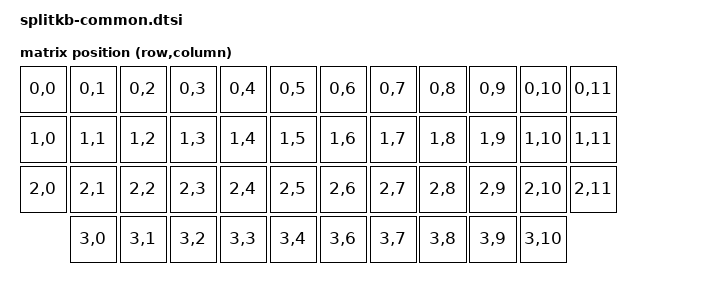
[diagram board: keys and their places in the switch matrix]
/*
 * Parte COMPARTILHADA entre as duas metades e o dongle.
 *
 * Aqui fica tudo que precisa ser IDENTICO nos tres: o matrix-transform (define
 * as posicoes do keymap), o physical-layout (ZMK Studio) e os nos de split dos
 * dois joysticks. Duplicar isso convidaria divergencia no mapa de teclas, entao
 * mora num lugar so.
 *
 * O que NAO esta aqui (por ser especifico de cada peca):
 *   - kscan real (matriz) ...... so nas metades (splitkb.dtsi)
 *   - kscan mock ............... so no dongle (nao tem teclas)
 *   - ADC + joystick local ..... nas metades
 *   - display (OLED vs GC9A01) . cada peca escolhe o seu zephyr,display
 *
 * ARQUITETURA COM DONGLE:
 *   dongle = central (roda o keymap, fala com o PC, tem a tela redonda)
 *   left/right = perifericos (cada um manda sua POSICAO ja transformada;
 *   o col-offset por lado deixa as posicoes unicas: esq 0-5, dir 6-11).
 *
 * JOYSTICKS via input-split:
 *   O roteamento do input-split e SO por 'reg' (tem que ser unico global):
 *     jsr_split reg=0  <- joystick DIREITO
 *     jsl_split reg=1  <- joystick ESQUERDO
 *   Cada periferico habilita SO o seu (com device=<&anin_...>); o outro fica
 *   disabled (input-split de periferico sem device = erro de build). No dongle,
 *   os dois ficam okay (modo central/proxy, sem device) e cada listener escuta
 *   o seu reg.
 */

#include <dt-bindings/zmk/matrix_transform.h>
#include <input/processors.dtsi>   // define os &zip_* (input processors, ex.: scroll)

/ {
    chosen {
        zmk,kscan = &kscan0;
        /* ZMK Studio exige physical-layout e NAO aceita zmk,matrix-transform */
        zmk,physical-layout = &default_layout;
        /* zephyr,display fica em cada peca (OLED nas metades, GC9A01 no dongle) */
    };

    default_transform: keymap_transform_0 {
        compatible = "zmk,matrix-transform";
        columns = <12>;
        rows = <4>;
        // Esquerda (cols 0-5)                              Direita (cols 6-11)
        map = <
RC(0,0) RC(0,1) RC(0,2) RC(0,3) RC(0,4) RC(0,5)   RC(0,6) RC(0,7) RC(0,8) RC(0,9) RC(0,10) RC(0,11)
RC(1,0) RC(1,1) RC(1,2) RC(1,3) RC(1,4) RC(1,5)   RC(1,6) RC(1,7) RC(1,8) RC(1,9) RC(1,10) RC(1,11)
RC(2,0) RC(2,1) RC(2,2) RC(2,3) RC(2,4) RC(2,5)   RC(2,6) RC(2,7) RC(2,8) RC(2,9) RC(2,10) RC(2,11)
        RC(3,0) RC(3,1) RC(3,2) RC(3,3) RC(3,4)   RC(3,6) RC(3,7) RC(3,8) RC(3,9) RC(3,10)
        >;
        // Linha 3 (por lado): [pol0 pol1 pol2 idx-extra-C3 idx-extra-C4]
    };

    /*
     * Nos de split dos dois joysticks. Ficam DISABLED por padrao; cada peca
     * habilita o que precisa (ver comentario do cabecalho).
     */
    splits {
        #address-cells = <1>;
        #size-cells = <0>;

        jsr_split: jsr_split@0 {          /* joystick DIREITO */
            compatible = "zmk,input-split";
            reg = <0>;
            status = "disabled";
        };

        jsl_split: jsl_split@1 {          /* joystick ESQUERDO */
            compatible = "zmk,input-split";
            reg = <1>;
            status = "disabled";
        };
    };

    /*
     * Listeners dos joysticks. Rodam no CENTRAL (dongle) — sao eles que geram
     * o HID de mouse. Ficam disabled aqui; o dongle habilita os dois.
     * Nas metades continuam disabled (a metade so ALIMENTA o input-split).
     */
    /*
     * SENSIBILIDADE POR CAMADA (2026-07-27): dobra a cada camada (2^indice
     * da camada) -- base=1x (sem filho, cai no processor incondicional),
     * NAV=2x, SYM=4x, FUN=8x, EDIT=16x. Valores dentro do limite seguro do
     * zip_*_scaler (recomendado ate 16) e ele acumula resto fracionario
     * (track-remainders), diferente do scale-divisor do driver do
     * joystick (que so trunca) -- sem risco de "morrer" como naquele caso.
     *
     * ORDEM dos filhos importa: o listener para no PRIMEIRO filho cuja
     * camada bate (nao acumula). FUN implica NAV tambem ativa (aninhada),
     * e EDIT implica SYM tambem ativa -- por isso FUN vem antes de NAV, e
     * EDIT vem antes de SYM, senao a camada mais rasa venceria por engano.
     */
    jsr_listener: jsr_listener {
        compatible = "zmk,input-listener";
        device = <&jsr_split>;
        status = "disabled";
        /* base = SCROLL fixo em 1x (mapeador incondicional, sem filho de
         * camada correspondente -- roda pra qualquer camada nao listada
         * abaixo, ou seja, so a base mesmo). */
        input-processors = <&zip_xy_to_scroll_mapper>;

        fun_2x { // FUN (camada 3) = 8x -- vem antes de nav_2x de proposito
            layers = <3>;
            input-processors = <&zip_xy_to_scroll_mapper>, <&zip_scroll_scaler 8 1>;
        };
        edit_2x { // EDIT (camada 4) = 16x -- vem antes de sym_2x de proposito
            layers = <4>;
            input-processors = <&zip_xy_to_scroll_mapper>, <&zip_scroll_scaler 16 1>;
        };
        nav_2x { // NAV (camada 1) = 2x
            layers = <1>;
            input-processors = <&zip_xy_to_scroll_mapper>, <&zip_scroll_scaler 2 1>;
        };
        sym_2x { // SYM (camada 2) = 4x
            layers = <2>;
            input-processors = <&zip_xy_to_scroll_mapper>, <&zip_scroll_scaler 4 1>;
        };
    };

    jsl_listener: jsl_listener {
        compatible = "zmk,input-listener";
        device = <&jsl_split>;
        status = "disabled";   // base = cursor puro em 1x (sem processor)

        fun_2x {
            layers = <3>;
            input-processors = <&zip_xy_scaler 8 1>;
        };
        edit_2x {
            layers = <4>;
            input-processors = <&zip_xy_scaler 16 1>;
        };
        nav_2x {
            layers = <1>;
            input-processors = <&zip_xy_scaler 2 1>;
        };
        sym_2x {
            layers = <2>;
            input-processors = <&zip_xy_scaler 4 1>;
        };
    };
};

/* Physical layout (posicoes fisicas) — referencia &default_transform e &kscan0.
 * Incluido no fim porque depende dos dois. */
#include "splitkb-layouts.dtsi"
